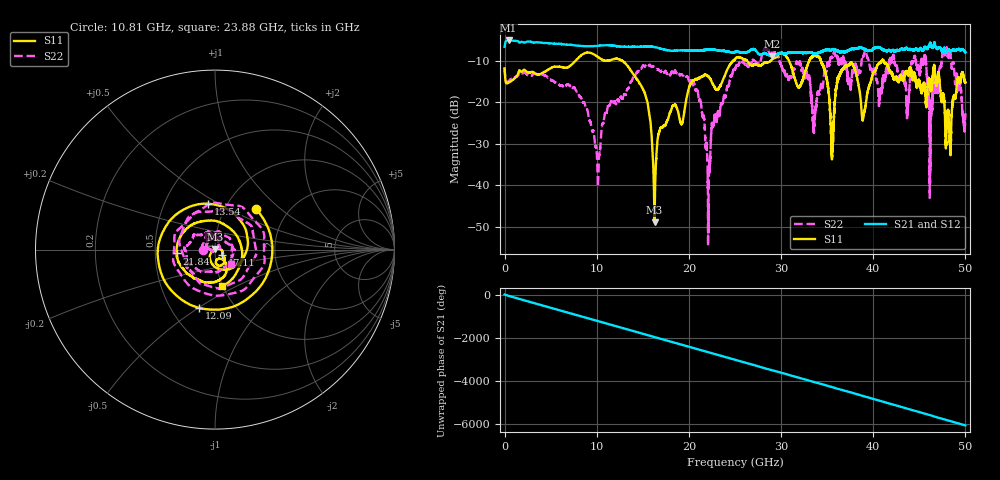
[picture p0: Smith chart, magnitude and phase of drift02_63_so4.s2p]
!Created with skrf (http://scikit-rf.org).
# Hz S RI R 50.0
!freq ReS11 ImS11 ReS21 ImS21 ReS12 ImS12 ReS22 ImS22
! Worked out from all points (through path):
!   10001 points, 300 kHz to 50 GHz, reference 50 ohm
!   highest |S21| = -5.04 dB at 430.3 MHz (marker M1); lowest = -8.9 dB at 29.05 GHz (marker M2)
!   group delay of S21, straight-line fit = 336 ps
!   lowest |S11| = -48.9 dB at 16.27 GHz (marker M3), VSWR 1.01, Z = 49.9 + j0.347 ohm
!   |S11| at or under -10 dB: start of sweep to 7.668 GHz; 12.82 GHz to 24.78 GHz (11.96 GHz wide, 63.6 % of centre); 41.14 GHz to end of sweep (the widest 3 of 12)
!   |S22| runs from -54.6 to -6.7 dB; largest |S21 - S12| = 0.03
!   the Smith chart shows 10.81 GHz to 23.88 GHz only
!   S11 on the Smith chart (normalised r, x): 10.81 GHz: 1.38, +0.70; 12.09 GHz: 0.69, -0.51; 13.54 GHz: 0.82, +0.45; 17.11 GHz: 1.08, -0.06; 21.84 GHz: 0.65, -0.03; 23.88 GHz: 1.00, -0.42
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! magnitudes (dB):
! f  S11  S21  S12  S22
! 300 kHz  -11.8  -6.6  -6.5  -11.7
! 430.3 MHz  -15.2  -5.0  -5.1  -14.8
! 8.335 GHz  -8.6  -6.4  -6.4  -19.1
! 10.11 GHz  -9.0  -6.3  -6.3  -38.8
! 10.81 GHz  -9.9  -6.2  -6.2  -23.6
! 12.09 GHz  -9.5  -6.4  -6.4  -20.4
! 13.54 GHz  -11.8  -6.6  -6.6  -15.9
! 16.27 GHz  -48.9  -6.6  -6.6  -11.7
! 16.67 GHz  -27.9  -6.9  -6.8  -12.2
! 17.11 GHz  -26.0  -7.1  -7.1  -12.3
! 21.84 GHz  -13.4  -7.3  -7.3  -31.3
! 23.88 GHz  -13.6  -7.6  -7.6  -18.3
! 25 GHz  -9.6  -7.8  -7.8  -12.0
! 29.05 GHz  -9.6  -8.9  -8.9  -8.1
! 33.34 GHz  -9.1  -8.0  -8.0  -20.2
! 35.54 GHz  -32.3  -7.3  -7.3  -9.2
! 36.79 GHz  -11.7  -7.8  -8.0  -9.3
! 41.67 GHz  -11.9  -7.4  -7.5  -11.8
! 45.49 GHz  -15.6  -7.1  -7.0  -9.6
! 46.24 GHz  -16.7  -5.9  -6.0  -22.8
! 48.13 GHz  -22.0  -7.1  -7.1  -9.2
! 50 GHz  -15.2  -7.9  -7.9  -22.6
